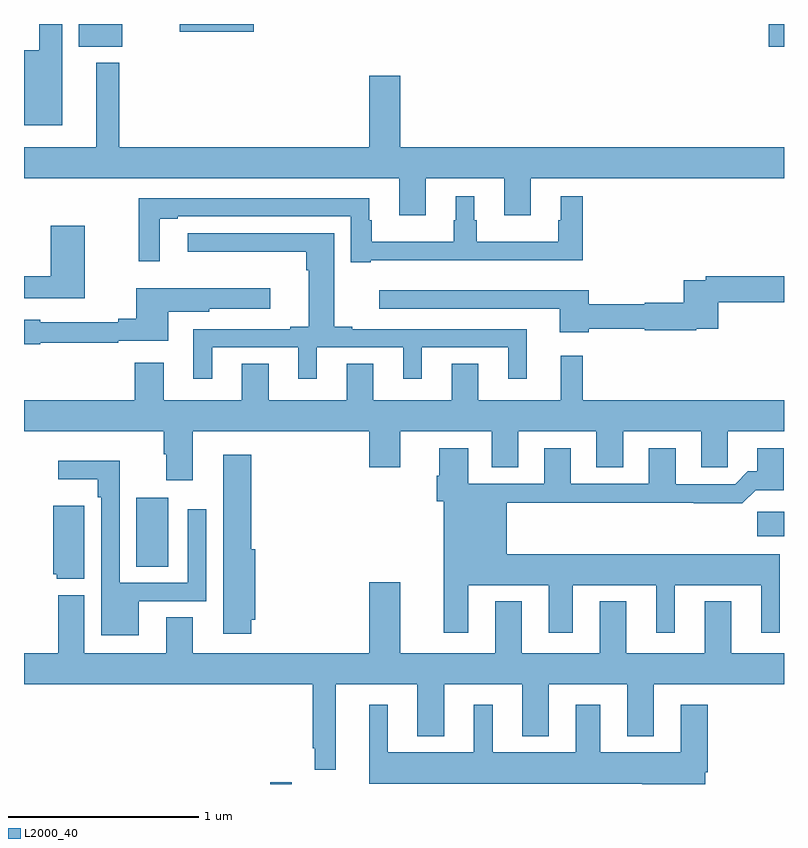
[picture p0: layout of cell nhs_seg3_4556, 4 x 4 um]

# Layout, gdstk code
import gdstk
lib = gdstk.Library(unit=1e-6, precision=1e-09)
def R(c, l, rs):  # rectangles x0, y0, x1, y1
    for r in rs: c.add(gdstk.rectangle(r[:2], r[2:], *l))
def P(c, l, *ps):  # polygons
    for p in ps: c.add(gdstk.Polygon(p, *l))
L2000_40 = (2000, 40)

nhs_seg3_4556 = lib.new_cell('nhs_seg3_4556')
R(nhs_seg3_4556, L2000_40, [(356.296,692.4,356.408,692.408), (355.592,693.544,355.759,693.907), (358.86,693.704,359,693.833), (355.289,696.281,355.516,696.4), (358.92,696.281,359,696.4), (355.82,696.359,356.209,696.4)])
P(nhs_seg3_4556, L2000_40, [(355.201,696.4),(355.08,696.4),(355.08,696.262),(355,696.262),(355,695.867),(355.201,695.867)],
  [(357.115,695.588),(357.527,695.588),(357.527,695.394),(357.667,695.394),(357.667,695.588),(359,695.588),(359,695.752),(356.98,695.752),(356.98,696.127),(356.816,696.127),(356.816,695.752),(355.501,695.752),(355.501,696.196),(355.379,696.196),(355.379,695.752),(355,695.752),(355,695.588),(356.975,695.588),(356.975,695.394),(357.115,695.394)],
  [(356.824,695.156),(357.941,695.156),(357.941,695.494),(357.824,695.494),(357.824,695.366),(357.813,695.366),(357.813,695.254),(357.382,695.254),(357.382,695.366),(357.37,695.366),(357.37,695.494),(357.272,695.494),(357.272,695.366),(357.261,695.366),(357.261,695.254),(356.83,695.254),(356.83,695.366),(356.818,695.366),(356.818,695.484),(355.605,695.484),(355.605,695.151),(355.714,695.151),(355.714,695.376),(355.81,695.376),(355.81,695.388),(356.721,695.388),(356.721,695.145),(356.824,695.145)],
  [(355.32,695.338),(355.142,695.338),(355.142,695.072),(355,695.072),(355,694.956),(355.32,694.956)],
  [(355.99,694.698),(356.444,694.698),(356.444,694.533),(356.542,694.533),(356.542,694.698),(356.996,694.698),(356.996,694.533),(357.094,694.533),(357.094,694.698),(357.548,694.698),(357.548,694.533),(357.647,694.533),(357.647,694.794),(356.728,694.794),(356.728,694.807),(356.632,694.807),(356.632,695.298),(355.863,695.298),(355.863,695.201),(356.486,695.201),(356.486,695.105),(356.498,695.105),(356.498,694.807),(356.402,694.807),(356.402,694.794),(355.892,694.794),(355.892,694.533),(355.99,694.533)],
  [(357.972,694.797),(358.266,694.797),(358.266,694.789),(358.538,694.789),(358.538,694.796),(358.655,694.796),(358.655,694.936),(359,694.936),(359,695.072),(358.588,695.072),(358.588,695.052),(358.472,695.052),(358.472,694.933),(358.266,694.933),(358.266,694.925),(357.972,694.925),(357.972,694.999),(356.871,694.999),(356.871,694.902),(357.821,694.902),(357.821,694.778),(357.972,694.778)],
  [(355.086,694.722),(355.496,694.722),(355.496,694.734),(355.759,694.734),(355.759,694.886),(355.974,694.886),(355.974,694.901),(356.296,694.901),(356.296,695.008),(355.592,695.008),(355.592,694.85),(355.496,694.85),(355.496,694.831),(355.086,694.831),(355.086,694.843),(355,694.843),(355,694.714),(355.086,694.714)],
  [(355.888,694.256),(356.816,694.256),(356.816,694.068),(356.98,694.068),(356.98,694.256),(357.461,694.256),(357.461,694.066),(357.601,694.066),(357.601,694.256),(358.013,694.256),(358.013,694.066),(358.153,694.066),(358.153,694.256),(358.565,694.256),(358.565,694.066),(358.704,694.066),(358.704,694.256),(359,694.256),(359,694.42),(357.941,694.42),(357.941,694.654),(357.824,694.654),(357.824,694.42),(357.391,694.42),(357.391,694.613),(357.251,694.613),(357.251,694.42),(356.839,694.42),(356.839,694.613),(356.699,694.613),(356.699,694.42),(356.287,694.42),(356.287,694.613),(356.147,694.613),(356.147,694.42),(355.735,694.42),(355.735,694.618),(355.583,694.618),(355.583,694.42),(355,694.42),(355,694.256),(355.736,694.256),(355.736,694.136),(355.748,694.136),(355.748,693.999),(355.888,693.999)],
  [(357.337,693.446),(357.761,693.446),(357.761,693.195),(357.889,693.195),(357.889,693.446),(358.328,693.446),(358.328,693.195),(358.426,693.195),(358.426,693.446),(358.88,693.446),(358.88,693.195),(358.978,693.195),(358.978,693.61),(357.541,693.61),(357.541,693.88),(358.525,693.88),(358.525,693.878),(358.781,693.878),(358.85,693.947),(358.999,693.947),(358.999,694.168),(358.859,694.168),(358.859,694.045),(358.81,694.045),(358.743,693.978),(358.429,693.978),(358.429,694.168),(358.289,694.168),(358.289,693.981),(357.877,693.981),(357.877,694.168),(357.737,694.168),(357.737,693.981),(357.337,693.981),(357.337,694.168),(357.185,694.168),(357.185,694.022),(357.173,694.022),(357.173,693.888),(357.209,693.888),(357.209,693.195),(357.337,693.195)],
  [(356.195,693.264),(356.216,693.264),(356.216,693.636),(356.195,693.636),(356.195,694.132),(356.048,694.132),(356.048,693.192),(356.195,693.192)],
  [(355.603,693.363),(355.959,693.363),(355.959,693.847),(355.863,693.847),(355.863,693.459),(355.503,693.459),(355.503,694.102),(355.179,694.102),(355.179,694.004),(355.387,694.004),(355.387,693.908),(355.407,693.908),(355.407,693.182),(355.603,693.182)],
  [(355.318,693.865),(355.154,693.865),(355.154,693.504),(355.173,693.504),(355.173,693.479),(355.318,693.479)],
  [(356.641,692.924),(357.071,692.924),(357.071,692.651),(357.211,692.651),(357.211,692.924),(357.623,692.924),(357.623,692.651),(357.763,692.651),(357.763,692.924),(358.175,692.924),(358.175,692.651),(358.315,692.651),(358.315,692.924),(359,692.924),(359,693.088),(358.723,693.088),(358.723,693.361),(358.583,693.361),(358.583,693.088),(358.171,693.088),(358.171,693.361),(358.031,693.361),(358.031,693.088),(357.619,693.088),(357.619,693.361),(357.479,693.361),(357.479,693.088),(356.98,693.088),(356.98,693.463),(356.816,693.463),(356.816,693.088),(355.888,693.088),(355.888,693.278),(355.748,693.278),(355.748,693.088),(355.318,693.088),(355.318,693.394),(355.18,693.394),(355.18,693.088),(355,693.088),(355,692.924),(356.52,692.924),(356.52,692.587),(356.53,692.587),(356.53,692.475),(356.641,692.475)],
  [(358.585,692.462),(358.598,692.462),(358.598,692.818),(358.457,692.818),(358.457,692.566),(358.033,692.566),(358.033,692.818),(357.905,692.818),(357.905,692.566),(357.466,692.566),(357.466,692.818),(357.368,692.818),(357.368,692.566),(356.914,692.566),(356.914,692.818),(356.816,692.818),(356.816,692.402),(358.253,692.402),(358.253,692.4),(358.585,692.4)])

lib.write_gds('nhs_seg3_4556.gds')
